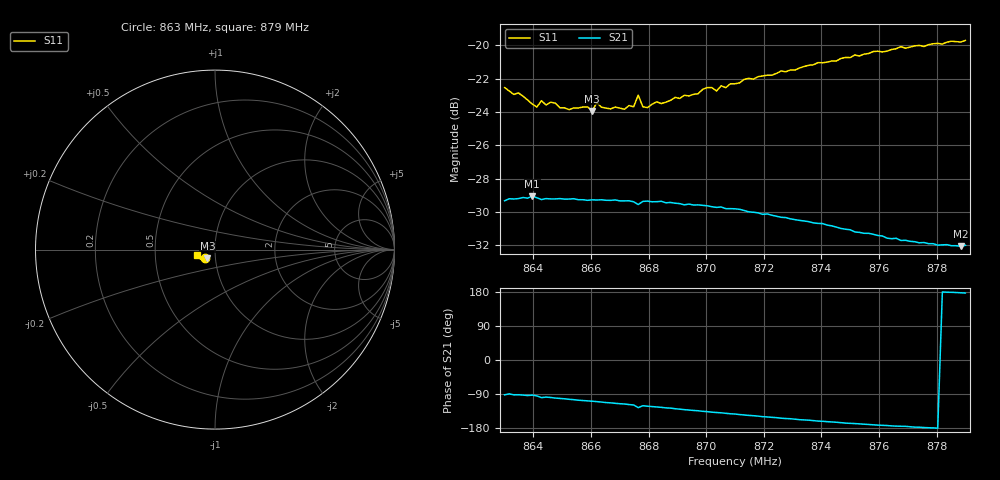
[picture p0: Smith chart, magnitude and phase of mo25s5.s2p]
# HZ S RI R 50
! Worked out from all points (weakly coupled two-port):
!   101 points, 863 MHz to 879 MHz, reference 50 ohm
!   highest |S21| = -29.05 dB at 863.96 MHz (marker M1); lowest = -32.0 dB at 878.84 MHz (marker M2)
!   lowest |S11| = -23.9 dB at 866.04 MHz (marker M3), VSWR 1.14, Z = 45.8 - j4.36 ohm
!   |S11| at or under -10 dB: start of sweep to end of sweep
!   S12 and S22 are empty: the file has one direction only
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8.63e8  -0.0568 -0.0484  -0.00113 -0.0341  0 0  0 0
8.6396e8  -0.0474 -0.0468  -0.00162 -0.0352  0 0  0 0
8.6412e8  -0.045 -0.0473  -0.00289 -0.0348  0 0  0 0
8.6428e8  -0.0489 -0.0475  -0.00557 -0.034  0 0  0 0
8.6524e8  -0.0455 -0.0451  -0.00821 -0.0336  0 0  0 0
8.6572e8  -0.0444 -0.0479  -0.0101 -0.0329  0 0  0 0
8.6604e8  -0.0422 -0.0475  -0.011 -0.0326  0 0  0 0
8.662e8  -0.0464 -0.0486  -0.0117 -0.0323  0 0  0 0
8.6668e8  -0.0422 -0.0486  -0.0134 -0.0315  0 0  0 0
8.6748e8  -0.0408 -0.0511  -0.0163 -0.0298  0 0  0 0
8.6764e8  -0.0485 -0.0517  -0.0194 -0.0271  0 0  0 0
8.678e8  -0.0417 -0.0503  -0.0174 -0.0292  0 0  0 0
8.6844e8  -0.0412 -0.0527  -0.0195 -0.0279  0 0  0 0
8.6972e8  -0.0441 -0.0563  -0.0231 -0.0239  0 0  0 0
8.7004e8  -0.0464 -0.0584  -0.0239 -0.0228  0 0  0 0
8.7036e8  -0.046 -0.0566  -0.0245 -0.0216  0 0  0 0
8.7052e8  -0.0477 -0.0586  -0.0248 -0.0213  0 0  0 0
8.71e8  -0.0493 -0.0587  -0.0257 -0.0197  0 0  0 0
8.7372e8  -0.0636 -0.0599  -0.0276 -0.0101  0 0  0 0
8.7644e8  -0.0829 -0.0505  -0.0262 -0.00278  0 0  0 0
8.7884e8  -0.0966 -0.0335  -0.025 0.00115  0 0  0 0
8.79e8  -0.0983 -0.0318  -0.0251 0.00142  0 0  0 0
